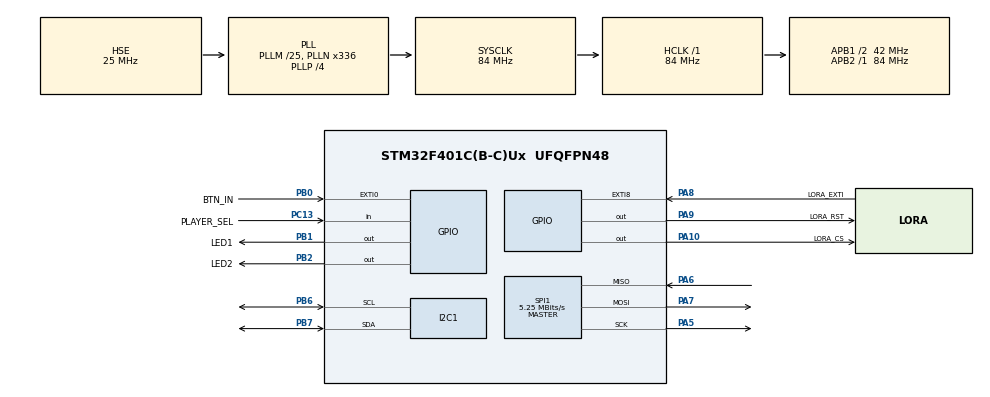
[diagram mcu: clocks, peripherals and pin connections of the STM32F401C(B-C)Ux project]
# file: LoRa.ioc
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Dma.I2C1_TX.0.Direction=DMA_MEMORY_TO_PERIPH
Dma.I2C1_TX.0.FIFOMode=DMA_FIFOMODE_DISABLE
Dma.I2C1_TX.0.Instance=DMA1_Stream6
Dma.I2C1_TX.0.MemDataAlignment=DMA_MDATAALIGN_BYTE
Dma.I2C1_TX.0.MemInc=DMA_MINC_ENABLE
Dma.I2C1_TX.0.Mode=DMA_NORMAL
Dma.I2C1_TX.0.PeriphDataAlignment=DMA_PDATAALIGN_BYTE
Dma.I2C1_TX.0.PeriphInc=DMA_PINC_DISABLE
Dma.I2C1_TX.0.Priority=DMA_PRIORITY_LOW
Dma.Request0=I2C1_TX
Dma.Request1=SPI1_TX
Dma.Request2=SPI1_RX
Dma.SPI1_RX.2.Direction=DMA_PERIPH_TO_MEMORY
Dma.SPI1_RX.2.FIFOMode=DMA_FIFOMODE_DISABLE
Dma.SPI1_RX.2.Instance=DMA2_Stream0
Dma.SPI1_RX.2.MemDataAlignment=DMA_MDATAALIGN_BYTE
Dma.SPI1_RX.2.MemInc=DMA_MINC_ENABLE
Dma.SPI1_RX.2.Mode=DMA_NORMAL
Dma.SPI1_RX.2.PeriphDataAlignment=DMA_PDATAALIGN_BYTE
Dma.SPI1_RX.2.PeriphInc=DMA_PINC_DISABLE
Dma.SPI1_RX.2.Priority=DMA_PRIORITY_LOW
Dma.SPI1_TX.1.Direction=DMA_MEMORY_TO_PERIPH
Dma.SPI1_TX.1.FIFOMode=DMA_FIFOMODE_DISABLE
Dma.SPI1_TX.1.Instance=DMA2_Stream3
Dma.SPI1_TX.1.MemDataAlignment=DMA_MDATAALIGN_BYTE
Dma.SPI1_TX.1.MemInc=DMA_MINC_ENABLE
Dma.SPI1_TX.1.Mode=DMA_NORMAL
Dma.SPI1_TX.1.PeriphDataAlignment=DMA_PDATAALIGN_BYTE
Dma.SPI1_TX.1.PeriphInc=DMA_PINC_DISABLE
Dma.SPI1_TX.1.Priority=DMA_PRIORITY_LOW
FREERTOS.Mutexes01=lora_mutex,Dynamic,NULL
FREERTOS.Tasks01=defaultTask,0,128,StartDefaultTask,Default,NULL,Dynamic,NULL,NULL;loraTask,1,128,StartLoraRXTask,Default,NULL,Dynamic,NULL,NULL;displayTask,0,128,StartDisplayTask,Default,NULL,Dynamic,NULL,NULL
FREERTOS.Timers01=msTick,msTickCallback,osTimerPeriodic,Default,NULL,Dynamic,NULL;debounceTimer,debounceCallback,osTimerOnce,Default,NULL,Dynamic,NULL;blinkTimer,blinkTimerCallback,osTimerOnce,Default,NULL,Dynamic,NULL
FREERTOS.configTIMER_TASK_PRIORITY=6
FREERTOS.configUSE_TIMERS=1
I2C1.I2C_Mode=I2C_Standard
I2C1.OwnAddress=0x27
Mcu.Family=STM32F4
Mcu.Name=STM32F401C(B-C)Ux
Mcu.Package=UFQFPN48
NVIC.DMA1_Stream6_IRQn=true\:5\:0\:false\:false\:true\:true\:false\:true\:true
NVIC.DMA2_Stream0_IRQn=true\:5\:0\:false\:false\:true\:true\:false\:true\:true
NVIC.DMA2_Stream3_IRQn=true\:5\:0\:false\:false\:true\:true\:false\:true\:true
NVIC.EXTI0_IRQn=true\:5\:0\:false\:false\:true\:true\:true\:true\:true
NVIC.I2C1_EV_IRQn=true\:5\:0\:false\:false\:true\:true\:true\:true\:true
NVIC.PriorityGroup=NVIC_PRIORITYGROUP_4
NVIC.SPI1_IRQn=true\:5\:0\:false\:false\:true\:true\:true\:true\:true
NVIC.TIM1_UP_TIM10_IRQn=true\:15\:0\:false\:false\:true\:false\:false\:true\:true
NVIC.TimeBase=TIM1_UP_TIM10_IRQn
NVIC.TimeBaseIP=TIM1
PA10.GPIO_Label=LORA_CS
PA10.PinState=GPIO_PIN_SET
PA10.Signal=GPIO_Output
PA13.Mode=Serial_Wire
PA13.Signal=SYS_JTMS-SWDIO
PA14.Mode=Serial_Wire
PA14.Signal=SYS_JTCK-SWCLK
PA5.Mode=Full_Duplex_Master
PA5.Signal=SPI1_SCK
PA6.Mode=Full_Duplex_Master
PA6.Signal=SPI1_MISO
PA7.Mode=Full_Duplex_Master
PA7.Signal=SPI1_MOSI
PA8.GPIO_Label=LORA_EXTI
PA8.Signal=GPXTI8
PA9.GPIO_Label=LORA_RST
PA9.PinState=GPIO_PIN_SET
PA9.Signal=GPIO_Output
PB0.GPIO_Label=BTN_IN
PB0.GPIO_ModeDefaultEXTI=GPIO_MODE_IT_FALLING
PB0.GPIO_PuPd=GPIO_PULLUP
PB0.Signal=GPXTI0
PB1.GPIO_Label=LED1
PB1.PinState=GPIO_PIN_SET
PB1.Signal=GPIO_Output
PB2.GPIO_Label=LED2
PB2.PinState=GPIO_PIN_SET
PB2.Signal=GPIO_Output
PB6.Mode=I2C
PB6.Signal=I2C1_SCL
PB7.Mode=I2C
PB7.Signal=I2C1_SDA
PC13-ANTI_TAMP.GPIO_Label=PLAYER_SEL
PC13-ANTI_TAMP.GPIO_PuPd=GPIO_PULLUP
PC13-ANTI_TAMP.Signal=GPIO_Input
PH0\ -\ OSC_IN.Mode=HSE-External-Oscillator
PH0\ -\ OSC_IN.Signal=RCC_OSC_IN
PH1\ -\ OSC_OUT.Mode=HSE-External-Oscillator
PH1\ -\ OSC_OUT.Signal=RCC_OSC_OUT
ProjectManager.HeapSize=0x200
ProjectManager.StackSize=0x400
ProjectManager.TargetToolchain=Makefile
RCC.48MHZClocksFreq_Value=48000000
RCC.AHBFreq_Value=84000000
RCC.APB1CLKDivider=RCC_HCLK_DIV2
RCC.APB1Freq_Value=42000000
RCC.APB1TimFreq_Value=84000000
RCC.APB2Freq_Value=84000000
RCC.APB2TimFreq_Value=84000000
RCC.CortexFreq_Value=84000000
RCC.HCLKFreq_Value=84000000
RCC.HSE_VALUE=25000000
RCC.HSI_VALUE=16000000
RCC.LSE_VALUE=32768
RCC.PLLI2SN=100
RCC.PLLM=25
RCC.PLLN=336
RCC.PLLP=RCC_PLLP_DIV4
RCC.PLLQ=7
RCC.PLLSourceVirtual=RCC_PLLSOURCE_HSE
RCC.SYSCLKFreq_VALUE=84000000
RCC.SYSCLKSource=RCC_SYSCLKSOURCE_PLLCLK
RCC.USBFreq_Value=48000000
RCC.VCOOutputFreq_Value=336000000
SPI1.BaudRatePrescaler=SPI_BAUDRATEPRESCALER_16
SPI1.CalculateBaudRate=5.25 MBits/s
SPI1.Direction=SPI_DIRECTION_2LINES
SPI1.Mode=SPI_MODE_MASTER
SPI1.VirtualType=VM_MASTER
VP_FREERTOS_VS_CMSIS_V1.Mode=CMSIS_V1
VP_SYS_VS_tim1.Mode=TIM1
board=custom

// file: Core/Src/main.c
/* USER CODE BEGIN Header */
/**
  ******************************************************************************
  * @file           : main.c
  * @brief          : Main program body
  ******************************************************************************
  * @attention
  *
  * Copyright (c) 2024 STMicroelectronics.
  * All rights reserved.
  *
  * This software is licensed under terms that can be found in the LICENSE file
  * in the root directory of this software component.
  * If no LICENSE file comes with this software, it is provided AS-IS.
  *
  ******************************************************************************
  */
/* USER CODE END Header */
#include "main.h"
#include "cmsis_os.h"

/* USER CODE BEGIN Includes */
#include "extern.h"
#include "i2c-lcd.h"
#include "lora.h"
#include <string.h>
#include <stdio.h>
#include "ssd1306.h"
#include "semphr.h"
#include "FreeRTOS.h"
#include <task.h>

/* USER CODE END Includes */

I2C_HandleTypeDef hi2c1;
DMA_HandleTypeDef hdma_i2c1_tx;

SPI_HandleTypeDef hspi1;
DMA_HandleTypeDef hdma_spi1_tx;
DMA_HandleTypeDef hdma_spi1_rx;

osThreadId defaultTaskHandle;
osThreadId loraTaskHandle;
osThreadId displayTaskHandle;
osTimerId msTickHandle;
osTimerId debounceTimerHandle;
osTimerId blinkTimerHandle;
osMutexId lora_mutexHandle;
/* USER CODE BEGIN PV */
//SemaphoreHandle_t xloraMutex;
LoRa myLoRa;

/* USER CODE END PV */

void SystemClock_Config(void);
static void MX_GPIO_Init(void);
static void MX_DMA_Init(void);
static void MX_SPI1_Init(void);
static void MX_I2C1_Init(void);
void StartDefaultTask(void const * argument);
void StartLoraTask(void const * argument);
void StartDisplayTask(void const * argument);
void msTickCallback(void const * argument);
void debounceCallback(void const * argument);
void blinkTimerCallback(void const * argument);

int main(void)
{

  /* MCU Configuration--------------------------------------------------------*/

  /* Reset of all peripherals, Initializes the Flash interface and the Systick. */
  HAL_Init();

  /* Configure the system clock */
  SystemClock_Config();

  /* Initialize all configured peripherals */
  MX_GPIO_Init();
  MX_DMA_Init();
  MX_SPI1_Init();
  MX_I2C1_Init();

  /* Create the mutex(es) */
  /* definition and creation of lora_mutex */
  osMutexDef(lora_mutex);
  lora_mutexHandle = osMutexCreate(osMutex(lora_mutex));

  /* USER CODE BEGIN RTOS_MUTEX */
  /* add mutexes, ... */

  //xloraMutex = xSemaphoreCreateMutex();

//debugBuddy = pdTRUE;
/*
if (xloraMutex != NULL)
{
  debugBuddy = xloraMutex;
}
*/

  /* USER CODE END RTOS_MUTEX */

  /* Create the timer(s) */
  /* definition and creation of msTick */
  osTimerDef(msTick, msTickCallback);
  msTickHandle = osTimerCreate(osTimer(msTick), osTimerPeriodic, NULL);

  /* definition and creation of debounceTimer */
  osTimerDef(debounceTimer, debounceCallback);
  debounceTimerHandle = osTimerCreate(osTimer(debounceTimer), osTimerOnce, NULL);

  /* definition and creation of blinkTimer */
  osTimerDef(blinkTimer, blinkTimerCallback);
  blinkTimerHandle = osTimerCreate(osTimer(blinkTimer), osTimerOnce, NULL);

  /* Create the thread(s) */
  /* definition and creation of defaultTask */
  osThreadDef(defaultTask, StartDefaultTask, osPriorityNormal, 0, 128);
  defaultTaskHandle = osThreadCreate(osThread(defaultTask), NULL);

  /* definition and creation of loraRXTask */

  /* definition and creation of displayTask */

  /* Start scheduler */
  osKernelStart();

  /* We should never get here as control is now taken by the scheduler */
  /* Infinite loop */
  while (1)
  {

  }
}

void SystemClock_Config(void)
{
  RCC_OscInitTypeDef RCC_OscInitStruct = {0};
  RCC_ClkInitTypeDef RCC_ClkInitStruct = {0};

  /** Configure the main internal regulator output voltage
  */
  __HAL_RCC_PWR_CLK_ENABLE();
  __HAL_PWR_VOLTAGESCALING_CONFIG(PWR_REGULATOR_VOLTAGE_SCALE2);

  /** Initializes the RCC Oscillators according to the specified parameters
  * in the RCC_OscInitTypeDef structure.
  */
  RCC_OscInitStruct.OscillatorType = RCC_OSCILLATORTYPE_HSE;
  RCC_OscInitStruct.HSEState = RCC_HSE_ON;
  RCC_OscInitStruct.PLL.PLLState = RCC_PLL_ON;
  RCC_OscInitStruct.PLL.PLLSource = RCC_PLLSOURCE_HSE;
  RCC_OscInitStruct.PLL.PLLM = 25;
  RCC_OscInitStruct.PLL.PLLN = 336;
  RCC_OscInitStruct.PLL.PLLP = RCC_PLLP_DIV4;
  RCC_OscInitStruct.PLL.PLLQ = 7;
  if (HAL_RCC_OscConfig(&RCC_OscInitStruct) != HAL_OK)
  {
    Error_Handler();
  }

  /** Initializes the CPU, AHB and APB buses clocks
  */
  RCC_ClkInitStruct.ClockType = RCC_CLOCKTYPE_HCLK|RCC_CLOCKTYPE_SYSCLK
                              |RCC_CLOCKTYPE_PCLK1|RCC_CLOCKTYPE_PCLK2;
  RCC_ClkInitStruct.SYSCLKSource = RCC_SYSCLKSOURCE_PLLCLK;
  RCC_ClkInitStruct.AHBCLKDivider = RCC_SYSCLK_DIV1;
  RCC_ClkInitStruct.APB1CLKDivider = RCC_HCLK_DIV2;
  RCC_ClkInitStruct.APB2CLKDivider = RCC_HCLK_DIV1;

  if (HAL_RCC_ClockConfig(&RCC_ClkInitStruct, FLASH_LATENCY_2) != HAL_OK)
  {
    Error_Handler();
  }
}

static void MX_I2C1_Init(void)
{

  hi2c1.Instance = I2C1;
  hi2c1.Init.ClockSpeed = 100000;
  hi2c1.Init.DutyCycle = I2C_DUTYCYCLE_2;
  hi2c1.Init.OwnAddress1 = 78;
  hi2c1.Init.AddressingMode = I2C_ADDRESSINGMODE_7BIT;
  hi2c1.Init.DualAddressMode = I2C_DUALADDRESS_DISABLE;
  hi2c1.Init.OwnAddress2 = 0;
  hi2c1.Init.GeneralCallMode = I2C_GENERALCALL_DISABLE;
  hi2c1.Init.NoStretchMode = I2C_NOSTRETCH_DISABLE;
  if (HAL_I2C_Init(&hi2c1) != HAL_OK)
  {
    Error_Handler();
  }

}

static void MX_SPI1_Init(void)
{

  /* SPI1 parameter configuration*/
  hspi1.Instance = SPI1;
  hspi1.Init.Mode = SPI_MODE_MASTER;
  hspi1.Init.Direction = SPI_DIRECTION_2LINES;
  hspi1.Init.DataSize = SPI_DATASIZE_8BIT;
  hspi1.Init.CLKPolarity = SPI_POLARITY_LOW;
  hspi1.Init.CLKPhase = SPI_PHASE_1EDGE;
  hspi1.Init.NSS = SPI_NSS_SOFT;
  hspi1.Init.BaudRatePrescaler = SPI_BAUDRATEPRESCALER_16;
  hspi1.Init.FirstBit = SPI_FIRSTBIT_MSB;
  hspi1.Init.TIMode = SPI_TIMODE_DISABLE;
  hspi1.Init.CRCCalculation = SPI_CRCCALCULATION_DISABLE;
  hspi1.Init.CRCPolynomial = 10;
  if (HAL_SPI_Init(&hspi1) != HAL_OK)
  {
    Error_Handler();
  }

}

static void MX_DMA_Init(void)
{

  /* DMA controller clock enable */
  __HAL_RCC_DMA1_CLK_ENABLE();
  __HAL_RCC_DMA2_CLK_ENABLE();

  /* DMA interrupt init */
  /* DMA1_Stream6_IRQn interrupt configuration */
  HAL_NVIC_SetPriority(DMA1_Stream6_IRQn, 5, 0);
  HAL_NVIC_EnableIRQ(DMA1_Stream6_IRQn);
  /* DMA2_Stream0_IRQn interrupt configuration */
  HAL_NVIC_SetPriority(DMA2_Stream0_IRQn, 5, 0);
  HAL_NVIC_EnableIRQ(DMA2_Stream0_IRQn);
  /* DMA2_Stream3_IRQn interrupt configuration */
  HAL_NVIC_SetPriority(DMA2_Stream3_IRQn, 5, 0);
  HAL_NVIC_EnableIRQ(DMA2_Stream3_IRQn);

}

static void MX_GPIO_Init(void)
{
  GPIO_InitTypeDef GPIO_InitStruct = {0};

  /* GPIO Ports Clock Enable */
  __HAL_RCC_GPIOC_CLK_ENABLE();
  __HAL_RCC_GPIOH_CLK_ENABLE();
  __HAL_RCC_GPIOA_CLK_ENABLE();
  __HAL_RCC_GPIOB_CLK_ENABLE();

  /*Configure GPIO pin Output Level */
  HAL_GPIO_WritePin(GPIOB, LED1_Pin|LED2_Pin, GPIO_PIN_SET);

  /*Configure GPIO pin Output Level */
  HAL_GPIO_WritePin(GPIOA, LORA_RST_Pin|LORA_CS_Pin, GPIO_PIN_SET);

  /*Configure GPIO pin : PLAYER_SEL_Pin */
  GPIO_InitStruct.Pin = PLAYER_SEL_Pin;
  GPIO_InitStruct.Mode = GPIO_MODE_INPUT;
  GPIO_InitStruct.Pull = GPIO_PULLUP;
  HAL_GPIO_Init(PLAYER_SEL_GPIO_Port, &GPIO_InitStruct);

  /*Configure GPIO pin : BTN_IN_Pin */
  GPIO_InitStruct.Pin = BTN_IN_Pin;
  GPIO_InitStruct.Mode = GPIO_MODE_IT_FALLING;
  GPIO_InitStruct.Pull = GPIO_PULLUP;
  HAL_GPIO_Init(BTN_IN_GPIO_Port, &GPIO_InitStruct);

  /*Configure GPIO pins : LED1_Pin LED2_Pin */
  GPIO_InitStruct.Pin = LED1_Pin|LED2_Pin;
  GPIO_InitStruct.Mode = GPIO_MODE_OUTPUT_PP;
  GPIO_InitStruct.Pull = GPIO_NOPULL;
  GPIO_InitStruct.Speed = GPIO_SPEED_FREQ_LOW;
  HAL_GPIO_Init(GPIOB, &GPIO_InitStruct);

  /*Configure GPIO pin : LORA_EXTI_Pin */
  GPIO_InitStruct.Pin = LORA_EXTI_Pin;
  GPIO_InitStruct.Mode = GPIO_MODE_IT_RISING;
  GPIO_InitStruct.Pull = GPIO_NOPULL;
  HAL_GPIO_Init(LORA_EXTI_GPIO_Port, &GPIO_InitStruct);

  /*Configure GPIO pins : LORA_RST_Pin LORA_CS_Pin */
  GPIO_InitStruct.Pin = LORA_RST_Pin|LORA_CS_Pin;
  GPIO_InitStruct.Mode = GPIO_MODE_OUTPUT_PP;
  GPIO_InitStruct.Pull = GPIO_NOPULL;
  GPIO_InitStruct.Speed = GPIO_SPEED_FREQ_LOW;
  HAL_GPIO_Init(GPIOA, &GPIO_InitStruct);

  /* EXTI interrupt init*/
  HAL_NVIC_SetPriority(EXTI0_IRQn, 5, 0);
  HAL_NVIC_EnableIRQ(EXTI0_IRQn);

}

void StartDefaultTask(void const * argument)
{
  /* USER CODE BEGIN 5 */

  osThreadDef(loraTask, StartLoraTask, osPriorityAboveNormal, 0, 128);
  loraTaskHandle = osThreadCreate(osThread(loraTask), NULL);

  osThreadDef(displayTask, StartDisplayTask, osPriorityNormal, 0, 128);
  displayTaskHandle = osThreadCreate(osThread(displayTask), NULL);

  if ( HAL_GPIO_ReadPin(PLAYER_SEL_GPIO_Port,PLAYER_SEL_Pin) == 0 )
  {
    THIS_PLAYER = BLUE;
    OTHER_PLAYER = RED;
  }

  else
  {
    THIS_PLAYER = RED;
    OTHER_PLAYER = BLUE;
  }

  REDLED_OFF;
  BLUELED_OFF;
  ssd1306_Init();
  ssd1306_SetCursor(0,0);
  ssd1306_WriteString("KING",Font_16x24,1);
  ssd1306_UpdateScreen();
  osDelay(500);
  ssd1306_Fill(0);
  ssd1306_SetCursor(64,0);
  ssd1306_WriteString("OF",Font_16x24,1);
  ssd1306_UpdateScreen();
  osDelay(500);
  ssd1306_Fill(0);
  ssd1306_SetCursor(0,8);
  ssd1306_WriteString("THE",Font_16x24,1);
  ssd1306_UpdateScreen();
  osDelay(500);
  ssd1306_Fill(0);
  ssd1306_SetCursor(64,8);
  ssd1306_WriteString("HILL",Font_16x24,1);
  ssd1306_UpdateScreen();

  osDelay(1000);

  resetGame();
  osTimerStart(msTickHandle, pdMS_TO_TICKS(10));

  /* Infinite loop */
  for(;;)
  {

    // if packet received, process it

      if(RXready_flag) decodeKOTHPacket();

      // Evaluate current state

      doGameState();

      osDelay(50);

  }
  /* USER CODE END 5 */
}

void StartLoraTask(void const * argument)
{
  /* USER CODE BEGIN StartLoraTask */

    // Create LoRa instance
    myLoRa = newLoRa();

      // configure
      myLoRa.CS_port         = LORA_CS_GPIO_Port;
      myLoRa.CS_pin          = LORA_CS_Pin;
      myLoRa.reset_port      = LORA_RST_GPIO_Port;
      myLoRa.reset_pin       = LORA_RST_Pin;
      myLoRa.DIO0_port       = LORA_EXTI_GPIO_Port;
      myLoRa.DIO0_pin        = LORA_EXTI_Pin;
      myLoRa.hSPIx           = &hspi1;

      // Test it
      uint16_t LoRa_Status = LoRa_init(&myLoRa);
      sprintf(opcodeString,"Josh wins", 10);
      if(LoRa_Status == LORA_OK)
      {
        LoRa_transmit(&myLoRa, (uint8_t*)opcodeString, 12, 100);
      }

    LoRa_startReceiving(&myLoRa);

    rxCount = 0;
    txCount = 0;

  /* Infinite loop */
  for(;;)
  {
    // RX first
    // Get the data

    // to do: add 2nd/3rd broadcast to each event. Configurable.

      packet_size = LoRa_receive(&myLoRa, loraRXbuf, 10);

      if( osMutexWait(lora_mutexHandle, osWaitForever) == osOK )        {

        if(packet_size > 0)
        {
            RXready_flag = 1;

            if(loraRXbuf[0] != receivedPacket[0])
            {
                memcpy(receivedPacket,loraRXbuf,10);
            }

        }

        //osDelay(5);

        // TX for every meaningful button press
        if(TXready_flag)
        {
          TXready_flag = 0;
          // send a message
          LoRa_transmit(&myLoRa, (uint8_t*)opcodeString, 12, 100);

          // Twice for fun
          LoRa_transmit(&myLoRa, (uint8_t*)opcodeString, 12, 100);
        }

        osMutexRelease(lora_mutexHandle);

      }

    osDelay(150);

  }
  /* USER CODE END StartLoraTask */
}

void StartDisplayTask(void const * argument)
{
  /* USER CODE BEGIN StartDisplayTask */
  /* Infinite loop */
  for(;;)
  {
    switch(gameState)
    {
        case WAITING:
          ssd1306_Fill(0);
          ssd1306_SetCursor(0,0);
          if (THIS_PLAYER == RED)
          {
              ssd1306_WriteString("RED",Font_11x18,1);
          }
          else
          {
              ssd1306_WriteString("BLUE",Font_11x18,1);
          }
          ssd1306_SetCursor(25,21);
          ssd1306_WriteString("Push to play!",Font_7x10,1);
          ssd1306_UpdateScreen();

        break;

        case RED:
          ssd1306_Fill(0);
          ssd1306_SetCursor(0,0);
          ssd1306_WriteString("RED is king!",Font_7x10,1);
          ssd1306_SetCursor(0,12);
          sprintf(score, "R:%u", red_counter);
          ssd1306_WriteString(score,Font_7x10,1);
          ssd1306_UpdateScreen();
        break;

        case BLUE:

          ssd1306_Fill(0);
          ssd1306_SetCursor(0,0);
          ssd1306_WriteString("BLUE is king!",Font_7x10,1);
          ssd1306_SetCursor(0,12);
          sprintf(score, "B:%u", blue_counter);
          ssd1306_WriteString(score,Font_7x10,1);
          ssd1306_UpdateScreen();

        break;

        case REDWINS:

          ssd1306_Fill(0);
          ssd1306_SetCursor(0,0);
          ssd1306_WriteString("Red wins!",Font_7x10,1);
          uint16_t difference = (red_counter - blue_counter);
          ssd1306_SetCursor(0,12);
          sprintf(finalScore, "Won by %ums", difference);
          ssd1306_WriteString(finalScore,Font_7x10,1);
          ssd1306_UpdateScreen();

        break;

        case BLUEWINS:

          ssd1306_Fill(0);
          ssd1306_SetCursor(0,0);
          ssd1306_WriteString("Blue wins!",Font_7x10,1);
          ssd1306_SetCursor(0,12);
          uint16_t differenceB = (blue_counter - red_counter);
          sprintf(finalScore, "Won by %ums", differenceB);
          ssd1306_WriteString(finalScore,Font_7x10,1);
          ssd1306_UpdateScreen();

        break;
    }

    osDelay(150);
  }
  /* USER CODE END StartDisplayTask */
}

/* msTickCallback function */
void msTickCallback(void const * argument)
{
  /* USER CODE BEGIN msTickCallback */
    if(red_flag == 1)
    {
      red_counter += 10;
      if(red_counter >= 10000)
      {
        red_counter = 10000;
        red_flag = 0;
        blue_flag = 0;
        gameState = REDWINS;
      }
    }

    if(blue_flag == 1)
    {
      blue_counter += 10;
      if(blue_counter >= 10000)
      {
        blue_counter = 10000;
        red_flag = 0;
        blue_flag = 0;
        gameState = BLUEWINS;
      }
    }

    if(blinkRED_flag)
    {
        if(++redLED_timer >= 25)
        {
          blinkRED_flag = 0;
          REDLED_OFF;
        }
    }
    if(blinkBLUE_flag)
    {
      if(++blueLED_timer >= 25)
      {
        blinkBLUE_flag = 0;
        BLUELED_OFF;
      }
    }
  /* USER CODE END msTickCallback */
}

/* debounceCallback function */
void debounceCallback(void const * argument)
{
  /* USER CODE BEGIN debounceCallback */
  debouncing_Flag = 0;
  /* USER CODE END debounceCallback */
}

/* blinkTimerCallback function */
void blinkTimerCallback(void const * argument)
{
}

void HAL_TIM_PeriodElapsedCallback(TIM_HandleTypeDef *htim)
{
  if (htim->Instance == TIM1) {
    HAL_IncTick();
  }
}

void Error_Handler(void)
{
  __disable_irq();
  while (1)
  {
  }
}
